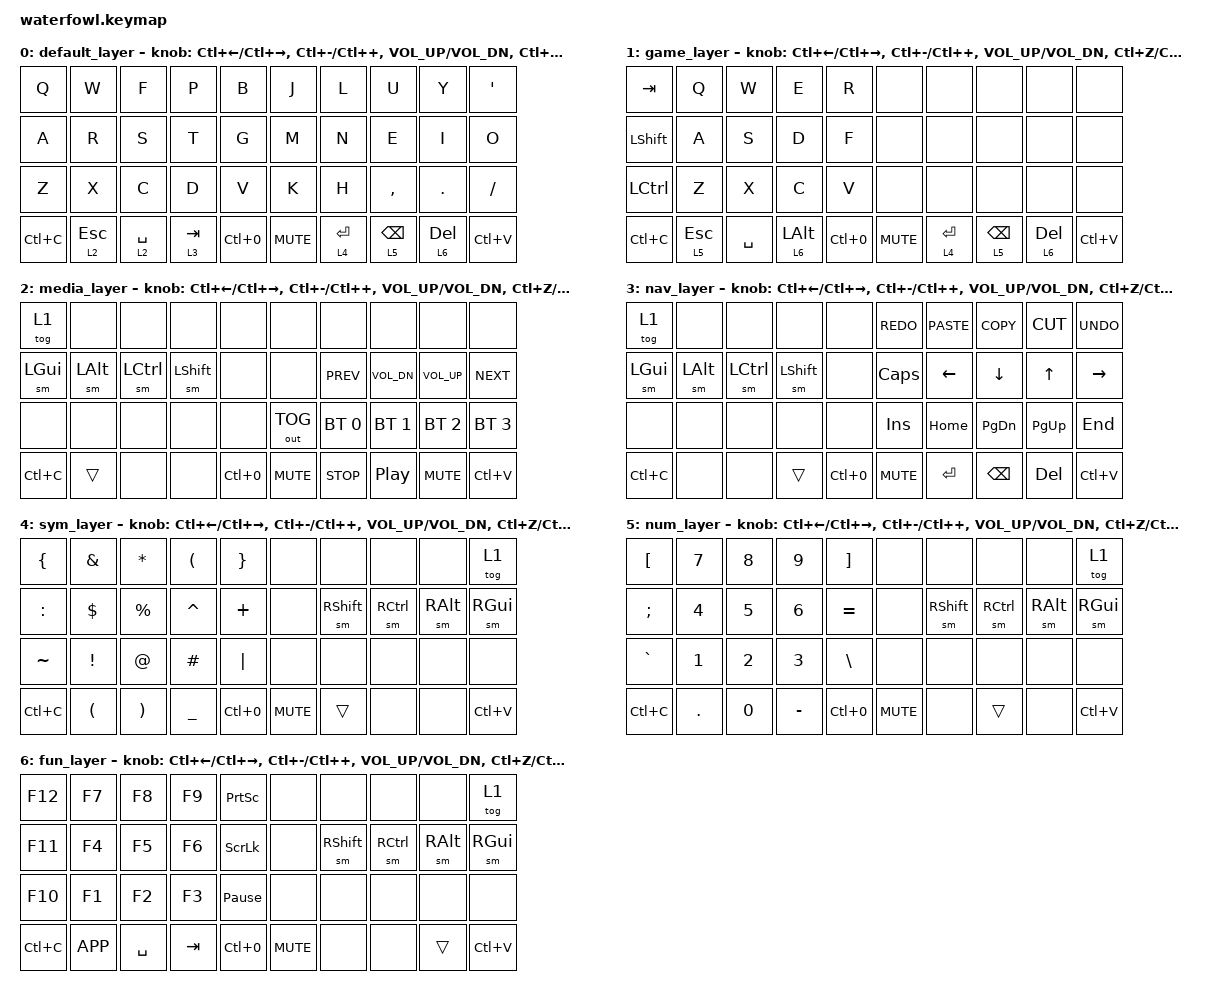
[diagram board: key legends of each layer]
/*
 * Copyright (c) 2022 The ZMK Contributors
 *
 * SPDX-License-Identifier: MIT
 */

#include <behaviors.dtsi>
#include <dt-bindings/zmk/keys.h>
#include <dt-bindings/zmk/bt.h>
#include <dt-bindings/zmk/outputs.h>


&lt {
     quick_tap_ms = <200>;
 };

/ {
	behaviors {
                sm: sticky_mod {
                        compatible = "zmk,behavior-sticky-key";
                        label = "STICKY_MOD";
                        #binding-cells = <1>;
                        bindings = <&kp>;
                        release-after-ms = <1000>;
                        quick-release;
                        ignore-modifiers;
                };
        };
};

/ {
	combos {
		compatible = "zmk,combos";
		combo_caps {
			timeout-ms = <50>;
			key-positions = <20 29>;
			bindings = <&caps_word>;
		};
	};
};


/ {
    keymap {
        compatible = "zmk,keymap";

        default_layer {

                /* QWERTY
                *
                * ,----------------------------------.                      ,----------------------------------.
                * |   Q  |   W  |   F  |   P  |   B  |                      |   J  |   L  |   U  |   Y  |   '  |
                * |------+------+------+------+------|                      |------+------+------+------+------|
                * |   A  |   R  |   S  |   T  |   G  |                      |   M  |   N  |   E  |   I  |   O  |
                * |------+------+------+------+------|  ,-----.    ,-----.  |------+------+------+------+------|
                * |   Z  |   X  |   C  |   D  |   V  |  |  2  |    |  3  |  |   K  |   H  |   ,  |   .  |   /  |
                * `----------------------------------'  `-----'    `-----'  `----------------------------------'
                *          ,-----.   ,--------------------.            ,--------------------.   ,-----.
                *          |  1  |   | ESC | SPACE | TAB  |            |  ENT  | BS |  DEL  |   |  4  |
                *          `-----'   `--------------------'            `--------------------'   `-----'
                */

                bindings = <
                        &kp Q          &kp W       &kp F        &kp P        &kp B           &kp J      &kp L        &kp U            &kp Y         &kp APOS
                        &kp A          &kp R       &kp S        &kp T        &kp G           &kp M      &kp N        &kp E            &kp I         &kp O
                        &kp Z          &kp X       &kp C        &kp D        &kp V           &kp K      &kp H        &kp COMMA        &kp DOT       &kp FSLH
                        &kp LC(C)      &lt 2 ESC   &lt 2 SPACE  &lt 3 TAB    &kp LC(N0)      &kp C_MUTE &lt 4 ENTER  &lt 5 BSPC       &lt 6 DEL     &kp LC(V)
                >; 

                sensor-bindings = <&inc_dec_kp LC(LEFT) LC(RIGHT) &inc_dec_kp LC(MINUS) LC(PLUS) &inc_dec_kp C_VOL_UP C_VOL_DN &inc_dec_kp LC(Z) LC(Y)>;
        };

        game_layer {                 

                /* QWERTY
                *
                * ,----------------------------------.                      ,----------------------------------.
                * |   Q  |   W  |   E  |   R  |   T  |                      |   Y  |   U  |   I  |   O  |   P  |
                * |------+------+------+------+------|                      |------+------+------+------+------|
                * |   A  |   S  |   D  |   F  |   G  |                      |   H  |   J  |   K  |   L  |   ;  |
                * |------+------+------+------+------|  ,-----.    ,-----.  |------+------+------+------+------|
                * |   Z  |   X  |   C  |   V  |   B  |  |  2  |    |  3  |  |   N  |   M  |   ,  |   .  |   /  |
                * `----------------------------------'  `-----'    `-----'  `----------------------------------'
                *          ,-----.   ,--------------------.            ,--------------------.   ,-----.
                *          |  1  |   | ESC | SPACE | TAB  |            |  ENT  | BS |  DEL  |   |  4  |
                *          `-----'   `--------------------'            `--------------------'   `-----'
                */

                bindings = <
                        &kp TAB        &kp Q       &kp W        &kp E        &kp R           &none      &none        &none            &none         &none
                        &kp LSHFT      &kp A       &kp S        &kp D        &kp F           &none      &none        &none            &none         &none
                        &kp LCTRL      &kp Z       &kp X        &kp C        &kp V           &none      &none        &none            &none         &none
                        &kp LC(C)      &lt 5 ESC   &kp SPACE    &lt 6 LALT   &kp LC(N0)      &kp C_MUTE &lt 4 ENTER  &lt 5 BSPC       &lt 6 DEL     &kp LC(V)
                >; 

                sensor-bindings = <&inc_dec_kp LC(LEFT) LC(RIGHT) &inc_dec_kp LC(MINUS) LC(PLUS) &inc_dec_kp C_VOL_UP C_VOL_DN &inc_dec_kp LC(Z) LC(Y)>;
        };

        media_layer {

                /* MEDIA
                *
                * ,----------------------------------.                      ,----------------------------------.
                * |      |      |      |      |      |                      | TOG  | MOD  | HUE  |  SAT |  VAL |
                * |------+------+------+------+------|                      |------+------+------+------+------|
                * | SUPR | ALT  |CTRL  | SHFT |      |                      |  EP  | PREV | VOLDN| VOLUP| NEXT |
                * |------+------+------+------+------|  ,-----.    ,-----.  |------+------+------+------+------|
                * |      |      |      |      |      |  |  2  |    |  3  |  | OUT  | BT 0 | BT 1 | BT 2 | BT 3 |
                * `----------------------------------'  `-----'    `-----'  `----------------------------------'
                *          ,-----.   ,--------------------.            ,--------------------.   ,-----.
                *          |  1  |   |XXXXX|       |      |            | STOP  |PAUS| MUTE  |   |  4  |
                *          `-----'   `--------------------'            `--------------------'   `-----'
                */

                bindings = <
                        &tog 1          &none       &none       &none       &none                   &none           &none           &none               &none        &none
                        &sm LGUI        &sm LALT    &sm LCTRL   &sm LSHFT   &none                   &none           &kp C_PREV      &kp C_VOL_DN        &kp C_VOL_UP &kp C_NEXT
                        &none           &none       &none       &none       &none                   &out OUT_TOG    &bt BT_SEL 0    &bt BT_SEL 1        &bt BT_SEL 2 &bt BT_SEL 3
                        &kp LC(C)       &trans      &none       &none       &kp LC(N0)              &kp C_MUTE      &kp C_STOP      &kp C_PP            &kp C_MUTE   &kp LC(V)
                >;

                sensor-bindings = <&inc_dec_kp LC(LEFT) LC(RIGHT) &inc_dec_kp LC(MINUS) LC(PLUS) &inc_dec_kp C_VOL_UP C_VOL_DN &inc_dec_kp LC(Z) LC(Y)>;
        };

        nav_layer {

                /* NAV  
                *   
                * ,----------------------------------.                      ,----------------------------------.
                * |      |      |      |      |      |                      | REDO | PASTE| COPY | CUT  | UNDO |
                * |------+------+------+------+------|                      |------+------+------+------+------|
                * | SUPR | ALT  | CTRL | SHIFT|      |                      | CAPS | LEFT |  DN  |  UP  | RIGHT|
                * |------+------+------+------+------|  ,-----.    ,-----.  |------+------+------+------+------|
                * |      |      |      |      |      |  |  2  |    |  3  |  | INS  | HOME | PGDN | PGUP | END  |
                * `----------------------------------'  `-----'    `-----'  `----------------------------------'
                *          ,-----.   ,--------------------.            ,--------------------.   ,-----.
                *          |  1  |   |      |      |XXXXXX|            | ENTER | BS |  DEL  |   |  4  |
                *          `-----'   `--------------------'            `--------------------'   `-----'
                */ 

                bindings = <
                        &tog 1          &none       &none       &none       &none                   &kp K_REDO  &kp K_PASTE  &kp K_COPY  &kp K_CUT   &kp K_UNDO
                        &sm LGUI        &sm LALT    &sm LCTRL   &sm LSHFT   &none                   &kp CAPS    &kp LEFT     &kp DOWN    &kp UP      &kp RIGHT
                        &none           &none       &none       &none       &none                   &kp INS     &kp HOME     &kp PG_DN   &kp PG_UP   &kp END
                        &kp LC(C)       &none       &none       &trans      &kp LC(N0)              &kp C_MUTE  &kp ENTER    &kp BSPC    &kp DEL     &kp LC(V)
                >;

                sensor-bindings = <&inc_dec_kp LC(LEFT) LC(RIGHT) &inc_dec_kp LC(MINUS) LC(PLUS) &inc_dec_kp C_VOL_UP C_VOL_DN &inc_dec_kp LC(Z) LC(Y)>;
        };

        sym_layer {

                /* SYM
                *
                * ,----------------------------------.                      ,----------------------------------.
                * |   {  |   &  |   *  |   (  |   }  |                      |      |      |      |      |      |
                * |------+------+------+------+------|                      |------+------+------+------+------|
                * |   :  |   $  |   %  |   ^  |   +  |                      |      | SHFT | CTRL | ALT  | SUPR |
                * |------+------+------+------+------|  ,-----.    ,-----.  |------+------+------+------+------|
                * |   ~  |   !  |   @  |   #  |  |   |  |  2  |    |  3  |  |      |      |      |      |      |
                * `----------------------------------'  `-----'    `-----'  `----------------------------------'
                *          ,-----.   ,--------------------.            ,--------------------.   ,-----.
                *          |  1  |   |  (  |   )   |  _   |            |XXXXXXX|    |       |   |  4  |
                *          `-----'   `--------------------'            `--------------------'   `-----'
                */

                bindings = <
                        &kp LBRC        &kp AMPS        &kp STAR        &kp LPAR        &kp RBRC     	     &none       &none     &none       &none       &tog 1
                        &kp COLON       &kp DLLR        &kp PRCNT       &kp CARET       &kp PLUS       	     &none       &sm RSHFT &sm RCTRL   &sm RALT    &sm RGUI
                        &kp TILDE       &kp EXCL        &kp AT          &kp HASH        &kp PIPE             &none       &none     &none       &none       &none
                        &kp LC(C)       &kp LPAR        &kp RPAR        &kp UNDER       &kp LC(N0)           &kp C_MUTE  &trans    &none       &none       &kp LC(V)
                >;

                sensor-bindings = <&inc_dec_kp LC(LEFT) LC(RIGHT) &inc_dec_kp LC(MINUS) LC(PLUS) &inc_dec_kp C_VOL_UP C_VOL_DN &inc_dec_kp LC(Z) LC(Y)>;
        };

        num_layer {
                /* NUM
                *
                * ,----------------------------------.                      ,----------------------------------.
                * |   [  |   7  |   8  |   9  |   ]  |                      |      |      |      |      |      |
                * |------+------+------+------+------|                      |------+------+------+------+------|
                * |   ;  |   4  |   5  |   6  |   =  |                      |      | SHFT | CTRL | ALT  | SUPR |
                * |------+------+------+------+------|  ,-----.    ,-----.  |------+------+------+------+------|
                * |   `  |   1  |   2  |   3  |  \   |  |  2  |    |  3  |  |      |      |      |      |      |
                * `----------------------------------'  `-----'    `-----'  `----------------------------------'
                *          ,-----.   ,--------------------.            ,--------------------.   ,-----.
                *          |  1  |   |  >  |   0   |  -   |            |       |XXXX|       |   |  4  |
                *          `-----'   `--------------------'            `--------------------'   `-----'
                *
                */
                bindings = <
                        &kp LBKT        &kp N7          &kp N8          &kp N9          &kp RBKT     	     &none           &none     &none       &none       &tog 1
                        &kp SEMI        &kp N4          &kp N5          &kp N6          &kp EQUAL            &none           &sm RSHFT &sm RCTRL   &sm RALT    &sm RGUI
                        &kp GRAVE       &kp N1          &kp N2          &kp N3          &kp BSLH             &none           &none     &none       &none       &none
                        &kp LC(C)       &kp DOT         &kp N0          &kp MINUS       &kp LC(N0)     	     &kp C_MUTE      &none     &trans      &none       &kp LC(V)
                >; 

                sensor-bindings = <&inc_dec_kp LC(LEFT) LC(RIGHT) &inc_dec_kp LC(MINUS) LC(PLUS) &inc_dec_kp C_VOL_UP C_VOL_DN &inc_dec_kp LC(Z) LC(Y)>;
        };

        fun_layer {

                /* FUN
                *
                * ,----------------------------------.                      ,----------------------------------.
                * | F12  |  F7  |  F8  |   F9 | PSCRN|                      |      |      |      |      |      |
                * |------+------+------+------+------|                      |------+------+------+------+------|
                * | F11  |  F4  |  F5  |  F6  | SLCK |                      |      | SHFT | CTRL | ALT  | SUPR |
                * |------+------+------+------+------|  ,-----.    ,-----.  |------+------+------+------+------|
                * |  F10 |  F1  |  F2  |  F3  |PAUSE |  |  2  |    |  3  |  |      |      |      |      |      |
                * `----------------------------------'  `-----'    `-----'  `----------------------------------'
                *          ,-----.   ,--------------------.            ,--------------------.   ,-----.
                *          |  1  |   | APP | SPACE | TAB  |            |       |      | XXXX|   |  4  |
                *          `-----'   `--------------------'            `--------------------'   `-----'
                */

                bindings = <
                        &kp F12         &kp F7          &kp F8          &kp F9          &kp PSCRN     	     &none       &none     &none       &none       &tog 1
                        &kp F11         &kp F4          &kp F5          &kp F6          &kp SLCK       	     &none       &sm RSHFT &sm RCTRL   &sm RALT    &sm RGUI
                        &kp F10         &kp F1          &kp F2          &kp F3          &kp PAUSE_BREAK      &none       &none     &none       &none       &none
                        &kp LC(C)       &kp K_APP       &kp SPACE       &kp TAB         &kp LC(N0)           &kp C_MUTE  &none     &none       &trans      &kp LC(V)
                >;

                sensor-bindings = <&inc_dec_kp LC(LEFT) LC(RIGHT) &inc_dec_kp LC(MINUS) LC(PLUS) &inc_dec_kp C_VOL_UP C_VOL_DN &inc_dec_kp LC(Z) LC(Y)>;
        }; 
 
    };
};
